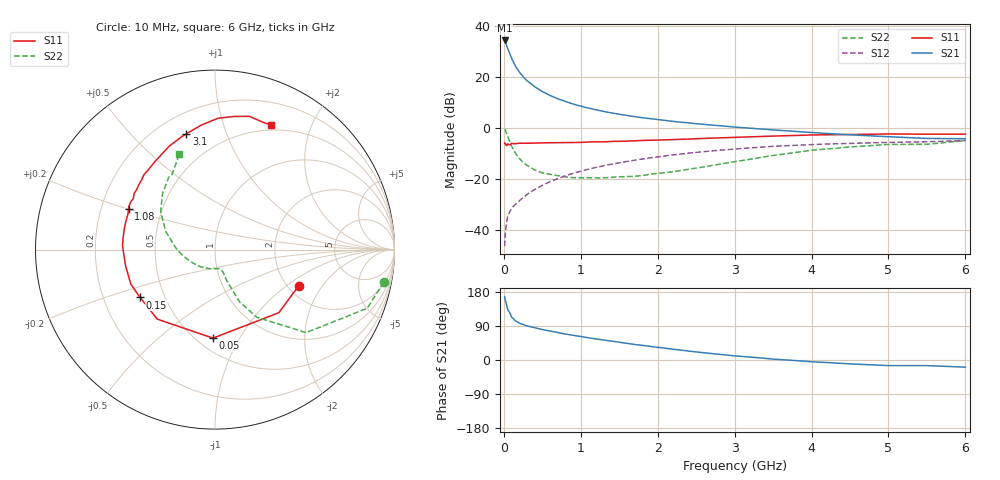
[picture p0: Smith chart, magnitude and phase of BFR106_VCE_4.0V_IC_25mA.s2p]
! Infineon Technologies  Discrete & RF Semiconductors
! BFR106
! VCE =  4.0 V,  IC =  25 mA
! Common Emitter S-Parameters:  Nov 2015
# GHz  S  MA  R  50
!  f  S11  S21  S12  S22
! GHz  MAG  ANG  MAG  ANG  MAG  ANG  MAG  ANG
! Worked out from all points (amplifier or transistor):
!   210 points, 10 MHz to 6 GHz, reference 50 ohm
!   highest |S21| = 34.3 dB at 10 MHz (marker M1)
!   |S21| within 3 dB of that: start of sweep to 48.75 MHz
!   unconditionally stable (mu >= 1): 351.7 MHz to 2.254 GHz
!   at 185 MHz: K = 0.82, MSG = 25.8 dB, |S12| = -28.8 dB
!   at 1.52 GHz: K = 1.05, MAG = 8.0 dB, |S12| = -13.5 dB
!   at 6 GHz: K = 0.99, MSG = 0.3 dB, |S12| = -4.9 dB
!   S11 on the Smith chart (normalised r, x): 10 MHz: 2.28, -1.24; 50 MHz: 0.60, -0.78; 150 MHz: 0.36, -0.26; 1.08 GHz: 0.32, +0.20; 3.1 GHz: 0.32, +0.73; 6 GHz: 0.44, +1.46
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0.01  0.5079 -23.4  51.67 167.1  0.0049 83.7  0.9582 -10.9
0.02  0.5002 -44.7  48.4 156.5  0.0092 75.7  0.9088 -21.1
0.05  0.4933 -91.3  36.21 132.6  0.0187 60.5  0.6872 -42.3
0.1  0.5035 -129.7  23.02 113.2  0.0266 54.3  0.4427 -58.3
0.15  0.4956 -147.5  16.21 103.2  0.0323 56.5  0.3225 -64.8
0.2  0.5068 -157.8  12.52 97.5  0.0378 59.0  0.2562 -66.4
0.24  0.5039 -163.4  10.57 94.1  0.0425 61.0  0.2205 -67.7
0.26  0.5041 -165.8  9.759 92.5  0.045 61.9  0.2067 -68.3
0.3  0.5063 -169.7  8.467 89.9  0.0501 63.7  0.1872 -69.2
0.4  0.5086 -177.1  6.442 84.9  0.0629 65.7  0.1516 -70.0
0.5  0.5161 177.4  5.168 80.2  0.0757 67.4  0.1326 -70.3
0.6  0.5163 172.8  4.34 76.1  0.0894 67.5  0.1242 -72.0
0.7  0.5176 168.5  3.752 72.1  0.1027 67.6  0.1174 -75.1
0.8  0.5197 165.1  3.297 68.5  0.1164 67.1  0.1108 -77.9
1.02  0.5261 156.9  2.634 61.3  0.1459 65.6  0.1071 -85.1
1.08  0.533 154.7  2.503 59.4  0.1542 65.1  0.1072 -88.2
1.4  0.5487 145.2  1.971 49.9  0.1965 61.6  0.1092 -102.6
2.02  0.583 128.2  1.449 32.9  0.2762 53.4  0.1305 -136.8
3.1  0.6643 103.9  1.02 9.4  0.3993 37.1  0.2317 173.0
4.1  0.7349 87.2  0.801 -5.6  0.4822 21.8  0.3786 142.6
5.1  0.7645 74.3  0.667 -14.8  0.5276 8.5  0.4794 122.0
6  0.7606 65.6  0.619 -18.9  0.5714 -1.5  0.5686 110.4
